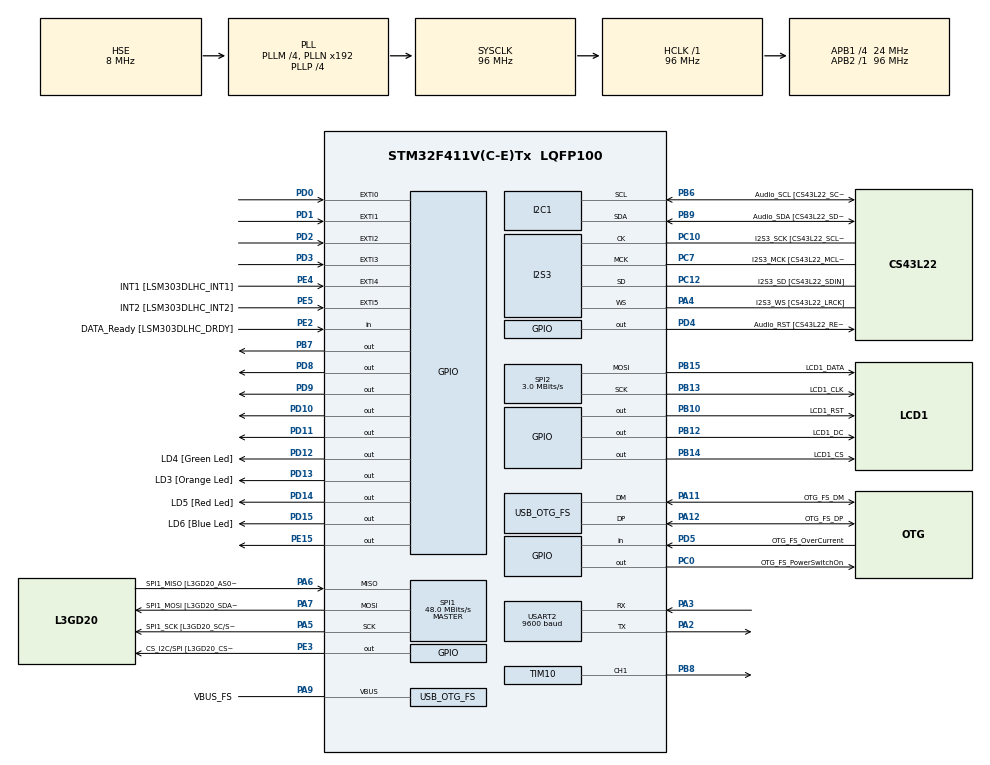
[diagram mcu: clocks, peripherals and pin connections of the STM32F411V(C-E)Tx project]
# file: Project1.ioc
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I2S3.AudioFreq=I2S_AUDIOFREQ_96K
I2S3.ErrorAudioFreq=-6.99 %
I2S3.FullDuplexMode=I2S_FULLDUPLEXMODE_DISABLE
I2S3.Instance=SPI$Index
I2S3.RealAudioFreq=89.285 KHz
I2S3.VirtualMode=I2S_MODE_MASTER
IWDG.Prescaler=IWDG_PRESCALER_128
IWDG.Reload=2047
Mcu.Family=STM32F4
Mcu.Name=STM32F411V(C-E)Tx
Mcu.Package=LQFP100
NVIC.EXTI0_IRQn=true\:0\:0\:false\:false\:true\:true
NVIC.EXTI1_IRQn=true\:0\:0\:false\:false\:true\:true
NVIC.EXTI2_IRQn=true\:0\:0\:false\:false\:true\:true
NVIC.EXTI3_IRQn=true\:0\:0\:false\:false\:true\:true
NVIC.OTG_FS_IRQn=true\:0\:0\:false\:false\:true\:true
NVIC.PriorityGroup=NVIC_PRIORITYGROUP_0
NVIC.TIM1_UP_TIM10_IRQn=true\:0\:0\:false\:false\:true\:true
PA10.GPIO_Label=OTG_FS_ID
PA10.Signal=USB_OTG_FS_ID
PA11.GPIO_Label=OTG_FS_DM
PA11.Mode=Host_Only
PA11.Signal=USB_OTG_FS_DM
PA12.GPIO_Label=OTG_FS_DP
PA12.Mode=Host_Only
PA12.Signal=USB_OTG_FS_DP
PA13.GPIO_Label=SWDIO
PA13.Mode=Serial_Wire
PA13.Signal=SYS_JTMS-SWDIO
PA14.GPIO_Label=SWCLK
PA14.Mode=Serial_Wire
PA14.Signal=SYS_JTCK-SWCLK
PA2.Mode=Asynchronous
PA2.Signal=USART2_TX
PA3.Mode=Asynchronous
PA3.Signal=USART2_RX
PA4.GPIO_Label=I2S3_WS [CS43L22_LRCK]
PA4.GPIO_Mode=GPIO_MODE_AF_PP
PA4.GPIO_PuPd=GPIO_NOPULL
PA4.GPIO_Speed=GPIO_SPEED_FREQ_LOW
PA4.Mode=Half_Duplex_Master
PA4.Signal=I2S3_WS
PA5.GPIO_Label=SPI1_SCK [L3GD20_SC/SPC]
PA5.Mode=Full_Duplex_Master
PA5.Signal=SPI1_SCK
PA6.GPIO_Label=SPI1_MISO [L3GD20_AS0/SDO]
PA6.Mode=Full_Duplex_Master
PA6.Signal=SPI1_MISO
PA7.GPIO_Label=SPI1_MOSI [L3GD20_SDA/SDI/SDO]
PA7.Mode=Full_Duplex_Master
PA7.Signal=SPI1_MOSI
PA9.GPIO_Label=VBUS_FS
PA9.Mode=Activate_VBUS
PA9.Signal=USB_OTG_FS_VBUS
PB10.GPIO_Label=LCD1_RST
PB10.Signal=GPIO_Output
PB12.GPIO_Label=LCD1_DC
PB12.Signal=GPIO_Output
PB13.GPIO_Label=LCD1_CLK
PB13.Mode=TX_Only_Simplex_Unidirect_Master
PB13.Signal=SPI2_SCK
PB14.GPIO_Label=LCD1_CS
PB14.Signal=GPIO_Output
PB15.GPIO_Label=LCD1_DATA
PB15.Mode=TX_Only_Simplex_Unidirect_Master
PB15.Signal=SPI2_MOSI
PB3.GPIO_Label=SWO
PB3.Signal=SYS_JTDO-SWO
PB6.GPIO_Label=Audio_SCL [CS43L22_SCL]
PB6.GPIO_Mode=GPIO_MODE_AF_OD
PB6.GPIO_PuPd=GPIO_NOPULL
PB6.GPIO_Speed=GPIO_SPEED_FREQ_LOW
PB6.Mode=I2C
PB6.Signal=I2C1_SCL
PB7.Signal=GPIO_Output
PB8.GPIO_Speed=GPIO_SPEED_FREQ_HIGH
PB8.Signal=S_TIM10_CH1
PB9.GPIO_Label=Audio_SDA [CS43L22_SDA]
PB9.GPIO_Mode=GPIO_MODE_AF_OD
PB9.GPIO_PuPd=GPIO_NOPULL
PB9.GPIO_Speed=GPIO_SPEED_FREQ_LOW
PB9.Mode=I2C
PB9.Signal=I2C1_SDA
PC0.GPIO_Label=OTG_FS_PowerSwitchOn
PC0.PinState=GPIO_PIN_SET
PC0.Signal=GPIO_Output
PC10.GPIO_Label=I2S3_SCK [CS43L22_SCLK]
PC10.GPIO_Mode=GPIO_MODE_AF_PP
PC10.GPIO_PuPd=GPIO_NOPULL
PC10.GPIO_Speed=GPIO_SPEED_FREQ_LOW
PC10.Mode=Half_Duplex_Master
PC10.Signal=I2S3_CK
PC12.GPIO_Label=I2S3_SD [CS43L22_SDIN]
PC12.GPIO_Mode=GPIO_MODE_AF_PP
PC12.GPIO_PuPd=GPIO_NOPULL
PC12.GPIO_Speed=GPIO_SPEED_FREQ_LOW
PC12.Mode=Half_Duplex_Master
PC12.Signal=I2S3_SD
PC14-OSC32_IN.GPIO_Label=PC14-OSC32_IN
PC14-OSC32_IN.Mode=LSE-External-Oscillator
PC14-OSC32_IN.Signal=RCC_OSC32_IN
PC15-OSC32_OUT.GPIO_Label=PC15-OSC32_OUT
PC15-OSC32_OUT.Mode=LSE-External-Oscillator
PC15-OSC32_OUT.Signal=RCC_OSC32_OUT
PC3.GPIO_Label=PDM_OUT [MP45DT02_DOUT]
PC3.Signal=I2S2_SD
PC7.GPIO_Label=I2S3_MCK [CS43L22_MCLK]
PC7.GPIO_Mode=GPIO_MODE_AF_PP
PC7.GPIO_PuPd=GPIO_NOPULL
PC7.GPIO_Speed=GPIO_SPEED_FREQ_LOW
PC7.Mode=Master_Clock_Activated
PC7.Signal=I2S3_MCK
PD0.GPIO_ModeDefaultEXTI=GPIO_MODE_IT_RISING_FALLING
PD0.GPIO_PuPd=GPIO_PULLDOWN
PD0.Signal=GPXTI0
PD1.GPIO_ModeDefaultEXTI=GPIO_MODE_IT_RISING_FALLING
PD1.GPIO_PuPd=GPIO_PULLDOWN
PD1.Signal=GPXTI1
PD10.Signal=GPIO_Output
PD11.Signal=GPIO_Output
PD12.GPIO_Label=LD4 [Green Led]
PD12.GPIO_PuPd=GPIO_NOPULL
PD12.GPIO_Speed=GPIO_SPEED_FREQ_LOW
PD12.Signal=GPIO_Output
PD13.GPIO_Label=LD3 [Orange Led]
PD13.GPIO_PuPd=GPIO_NOPULL
PD13.GPIO_Speed=GPIO_SPEED_FREQ_LOW
PD13.Signal=GPIO_Output
PD14.GPIO_Label=LD5 [Red Led]
PD14.GPIO_PuPd=GPIO_NOPULL
PD14.GPIO_Speed=GPIO_SPEED_FREQ_LOW
PD14.Signal=GPIO_Output
PD15.GPIO_Label=LD6 [Blue Led]
PD15.GPIO_PuPd=GPIO_NOPULL
PD15.GPIO_Speed=GPIO_SPEED_FREQ_LOW
PD15.Signal=GPIO_Output
PD2.GPIO_ModeDefaultEXTI=GPIO_MODE_IT_RISING_FALLING
PD2.GPIO_PuPd=GPIO_PULLDOWN
PD2.Signal=GPXTI2
PD3.GPIO_ModeDefaultEXTI=GPIO_MODE_IT_RISING_FALLING
PD3.GPIO_PuPd=GPIO_PULLDOWN
PD3.Signal=GPXTI3
PD4.GPIO_Label=Audio_RST [CS43L22_RESET]
PD4.Signal=GPIO_Output
PD5.GPIO_Label=OTG_FS_OverCurrent
PD5.Signal=GPIO_Input
PD8.Signal=GPIO_Output
PD9.Signal=GPIO_Output
PE15.Signal=GPIO_Output
PE2.GPIO_Label=DATA_Ready [LSM303DLHC_DRDY]
PE2.Signal=GPIO_Input
PE3.GPIO_Label=CS_I2C/SPI [L3GD20_CS_I2C/SPI]
PE3.Signal=GPIO_Output
PE4.GPIO_Label=INT1 [LSM303DLHC_INT1]
PE4.GPIO_ModeDefaultEXTI=GPIO_MODE_EVT_RISING
PE4.Signal=GPXTI4
PE5.GPIO_Label=INT2 [LSM303DLHC_INT2]
PE5.GPIO_ModeDefaultEXTI=GPIO_MODE_EVT_RISING
PE5.Signal=GPXTI5
PH0\ -\ OSC_IN.GPIO_Label=PH0-OSC_IN
PH0\ -\ OSC_IN.Mode=HSE-External-Clock-Source
PH0\ -\ OSC_IN.Signal=RCC_OSC_IN
PH1\ -\ OSC_OUT.GPIO_Label=PH1-OSC_OUT
PH1\ -\ OSC_OUT.Mode=HSE-External-Clock-Source
PH1\ -\ OSC_OUT.Signal=RCC_OSC_OUT
ProjectManager.HeapSize=0x200
ProjectManager.StackSize=0x400
ProjectManager.TargetToolchain=SW4STM32
RCC.48MHZClocksFreq_Value=48000000
RCC.AHBFreq_Value=96000000
RCC.APB1CLKDivider=RCC_HCLK_DIV4
RCC.APB1Freq_Value=24000000
RCC.APB1TimFreq_Value=48000000
RCC.APB2Freq_Value=96000000
RCC.APB2TimFreq_Value=96000000
RCC.CortexFreq_Value=96000000
RCC.HCLKFreq_Value=96000000
RCC.HSE_VALUE=8000000
RCC.HSI_VALUE=16000000
RCC.PLLI2SM=5
RCC.PLLI2SN=200
RCC.PLLM=4
RCC.PLLP=RCC_PLLP_DIV4
RCC.PLLQ=8
RCC.SYSCLKFreq_VALUE=96000000
RCC.SYSCLKSource=RCC_SYSCLKSOURCE_PLLCLK
RCC.VCOOutputFreq_Value=384000000
SH.S_TIM10_CH1.0=TIM10_CH1,PWM Generation1 CH1
SPI1.BaudRatePrescaler=SPI_BAUDRATEPRESCALER_2
SPI1.CalculateBaudRate=48.0 MBits/s
SPI1.Direction=SPI_DIRECTION_2LINES
SPI1.Mode=SPI_MODE_MASTER
SPI1.VirtualType=VM_MASTER
SPI2.BaudRatePrescaler=SPI_BAUDRATEPRESCALER_8
SPI2.CalculateBaudRate=3.0 MBits/s
SPI2.Direction=SPI_DIRECTION_2LINES
SPI2.Mode=SPI_MODE_MASTER
SPI2.VirtualType=VM_MASTER
TIM10.Channel=TIM_CHANNEL_1
TIM10.OCFastMode_PWM=TIM_OCFAST_ENABLE
TIM10.OCMode_PWM=TIM_OCMODE_PWM2
TIM10.Period=2500
TIM10.Prescaler=63
TIM10.Pulse=1000
USART2.BaudRate=9600
USART2.VirtualMode=VM_ASYNC
USB_HOST.BSP.number=1
USB_HOST.USBH_HandleTypeDef=hUsbHostFS
USB_HOST.VirtualModeFS=Cdc
USB_HOST0.BSP.STBoard=false
USB_HOST0.BSP.api=Unknown
USB_HOST0.BSP.i2caddr=0
USB_HOST0.BSP.i2creg=0
USB_HOST0.BSP.instance=PC0
USB_HOST0.BSP.ip=GPIO
USB_HOST0.BSP.mode=Output
USB_HOST0.BSP.name=Drive_VBUS_FS
USB_HOST0.BSP.solution=PC0
USB_OTG_FS.VirtualMode=Host_Only
USB_OTG_FS.phy_itface=HCD_PHY_EMBEDDED
VP_IWDG_VS_IWDG.Mode=IWDG_Activate
VP_TIM10_VS_ClockSourceINT.Mode=Enable_Timer
VP_USB_HOST_VS_USB_HOST_CDC_FS.Mode=CDC_FS
board=32F411EDISCOVERY

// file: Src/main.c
/* USER CODE BEGIN Header */
/**
  ******************************************************************************
  * @file           : main.c
  * @brief          : Main program body
  ******************************************************************************
  * This notice applies to any and all portions of this file
  * that are not between comment pairs USER CODE BEGIN and
  * USER CODE END. Other portions of this file, whether
  * inserted by the user or by software development tools
  * are owned by their respective copyright owners.
  *
  * Copyright (c) 2018 STMicroelectronics International N.V.
  * All rights reserved.
  *
  * Redistribution and use in source and binary forms, with or without
  * modification, are permitted, provided that the following conditions are met:
  *
  * 1. Redistribution of source code must retain the above copyright notice,
  *    this list of conditions and the following disclaimer.
  * 2. Redistributions in binary form must reproduce the above copyright notice,
  *    this list of conditions and the following disclaimer in the documentation
  *    and/or other materials provided with the distribution.
  * 3. Neither the name of STMicroelectronics nor the names of other
  *    contributors to this software may be used to endorse or promote products
  *    derived from this software without specific written permission.
  * 4. This software, including modifications and/or derivative works of this
  *    software, must execute solely and exclusively on microcontroller or
  *    microprocessor devices manufactured by or for STMicroelectronics.
  * 5. Redistribution and use of this software other than as permitted under
  *    this license is void and will automatically terminate your rights under
  *    this license.
  *
  * THIS SOFTWARE IS PROVIDED BY STMICROELECTRONICS AND CONTRIBUTORS "AS IS"
  * AND ANY EXPRESS, IMPLIED OR STATUTORY WARRANTIES, INCLUDING, BUT NOT
  * LIMITED TO, THE IMPLIED WARRANTIES OF MERCHANTABILITY, FITNESS FOR A
  * PARTICULAR PURPOSE AND NON-INFRINGEMENT OF THIRD PARTY INTELLECTUAL PROPERTY
  * RIGHTS ARE DISCLAIMED TO THE FULLEST EXTENT PERMITTED BY LAW. IN NO EVENT
  * SHALL STMICROELECTRONICS OR CONTRIBUTORS BE LIABLE FOR ANY DIRECT, INDIRECT,
  * INCIDENTAL, SPECIAL, EXEMPLARY, OR CONSEQUENTIAL DAMAGES (INCLUDING, BUT NOT
  * LIMITED TO, PROCUREMENT OF SUBSTITUTE GOODS OR SERVICES; LOSS OF USE, DATA,
  * OR PROFITS; OR BUSINESS INTERRUPTION) HOWEVER CAUSED AND ON ANY THEORY OF
  * LIABILITY, WHETHER IN CONTRACT, STRICT LIABILITY, OR TORT (INCLUDING
  * NEGLIGENCE OR OTHERWISE) ARISING IN ANY WAY OUT OF THE USE OF THIS SOFTWARE,
  * EVEN IF ADVISED OF THE POSSIBILITY OF SUCH DAMAGE.
  *
  ******************************************************************************
  */
/* USER CODE END Header */

#include "main.h"
#include "i2c.h"
#include "i2s.h"
#include "iwdg.h"
#include "spi.h"
#include "tim.h"
#include "usart.h"
#include "usb_host.h"
#include "gpio.h"

void SystemClock_Config(void);
void MX_USB_HOST_Process(void);

/* USER CODE BEGIN PFP */

void HAL_GPIO_EXTI_Callback(uint16_t GPIO_Pin) {
	interface_on_input(GPIO_Pin);
}

void HAL_TIM_PeriodElapsedCallback(TIM_HandleTypeDef *htim)
{
	if(htim->Instance == TIM10)
	{
		dispenser_timer_callback();
	}
}

/* USER CODE END PFP */

/* USER CODE BEGIN 0 */

// WIFI MODULE FUNCTIONS
char* request = NULL;
char first_request = 1;
char opened_dispenser = 0;

char* wifi_create_request() {
	free(request);
	request = malloc(1000);
	if (request == NULL)
		return NULL;

	char text[] = "{\"current_temperature\":%d.%02d,"
			"\"required_temperature\":%d,"
			"\"heater\":%d,"
			"\"dispenser\":%d,"
			"\"first\":%d}";
	float temperature = get_current_temperature();
	sprintf(request, text,
			(int) temperature, (int) (temperature * 100) - ((int) temperature) * 100,
			get_required_temperature(),
			heater_is_on(),
			opened_dispenser,
			first_request);

	first_request = 0;
	return request;
}

const char* WHITESPACE = " \n\t\r\v";
const char NUMBER_SPLIT = '.';
double parse_number(char* string) {
	float result = 0;
	int split_i = -1;

	for (int i = 0; string[i] != '\0'; ++i) {
		double number = (double) (string[i] - '0');

		if (number >= 0 && number <= 9) {
			if (split_i == -1)
				result = result * 10 + number;
			else {
				int fraction = i - split_i;
				for (int j = 0; j < fraction; ++j) number /= 10;
				result += number;
			}
		}
		else if (string[i] == NUMBER_SPLIT) {
			if (split_i != -1) break;
			split_i = i;
		}
		else {
			break;
		}
	}

	return result;
}

int is_whitespace(char c) {
	for (int i = 0; WHITESPACE[i] != '\0'; ++i) {
		if (WHITESPACE[i] == c) return 1;
	}
	return 0;
}

int skip_word(char* string) {
	int i = 0;
	for (; string[i] != '\0' && !is_whitespace(string[i]); ++i);
	for (; string[i] != '\0' && is_whitespace(string[i]); ++i);
	return i;
}

void read_response(char* response) {
	if (response[0]) {
		HAL_Delay(1000);
	}

	double required_temperature = parse_number(&response[0]);
	set_required_temperature(required_temperature);

	int word_start = skip_word(&response[0]);
	double open_dispenser = parse_number(&response[word_start]);
	if (open_dispenser) {
		dispenser_feed();
		opened_dispenser = 1;
	} else {
		opened_dispenser = 0;
	}
}

char* wifi_uuid = "UCU-Guests";
char* wifi_password = "";

char* url = "http://kangaroosinantarctica.pythonanywhere.com/aquarium/data";
char* response;

void wifi_module_process(WifiController* wifi_controller) {
	int is_connected = wifi_is_connected(wifi_controller);

	if (!is_connected) {
		HAL_Delay(2000);
		is_connected = wifi_is_connected(wifi_controller);
		HAL_Delay(1000);

		if (!is_connected) {
			wifi_connect(wifi_controller, wifi_uuid, wifi_password);
			HAL_Delay(5000);
		}
	}
	else {
		response = wifi_get_response(wifi_controller);
		read_response(response);

		request = wifi_create_request();
		if (request == NULL) return;
		HAL_Delay(1000);

		int result = wifi_configure_request(wifi_controller, WIFI_REQUEST_TYPE_POST, url);
		HAL_Delay(250);
		result = wifi_send_request(wifi_controller, request);

		HAL_Delay(3000);
	}
}

int cstr_size(char* str) {
	int size = 0;
	while (str[size++] != '\0') {};
	return size;
}

void init_all() {
	// Interface
	interface_init();
	interface_display();

	// Dispenser
	dispenser_init();
	// Enable interrupt for timer 10
	HAL_TIM_Base_Start_IT(&htim10);

	temperature_init();
}

/* USER CODE END 0 */

int main(void)
{

  /* MCU Configuration--------------------------------------------------------*/

  /* Reset of all peripherals, Initializes the Flash interface and the Systick. */
  HAL_Init();

  /* Configure the system clock */
  SystemClock_Config();

  /* Initialize all configured peripherals */
  MX_GPIO_Init();
  MX_I2C1_Init();
  MX_I2S3_Init();
  MX_SPI1_Init();
  MX_USB_HOST_Init();
  MX_SPI2_Init();
  MX_TIM10_Init();
  MX_USART2_UART_Init();
  MX_IWDG_Init();

  /* Infinite loop */
  /* USER CODE BEGIN WHILE */

  init_all();

  WifiController wifi_controller;
  wifi_init(&wifi_controller, &huart2);

  while (1)
  {
	// Perform the basic loop of the program
	IWDG->KR = 0x0000AAAAU;

	temperature_measure();
	interface_display();
	heater_adapt();

	wifi_module_process(&wifi_controller);

    /* USER CODE END WHILE */
    MX_USB_HOST_Process();

  }
}

void SystemClock_Config(void)
{
  RCC_OscInitTypeDef RCC_OscInitStruct = {0};
  RCC_ClkInitTypeDef RCC_ClkInitStruct = {0};
  RCC_PeriphCLKInitTypeDef PeriphClkInitStruct = {0};

  /**Configure the main internal regulator output voltage
  */
  __HAL_RCC_PWR_CLK_ENABLE();
  __HAL_PWR_VOLTAGESCALING_CONFIG(PWR_REGULATOR_VOLTAGE_SCALE1);
  /**Initializes the CPU, AHB and APB busses clocks
  */
  RCC_OscInitStruct.OscillatorType = RCC_OSCILLATORTYPE_LSI|RCC_OSCILLATORTYPE_HSE;
  RCC_OscInitStruct.HSEState = RCC_HSE_BYPASS;
  RCC_OscInitStruct.LSIState = RCC_LSI_ON;
  RCC_OscInitStruct.PLL.PLLState = RCC_PLL_ON;
  RCC_OscInitStruct.PLL.PLLSource = RCC_PLLSOURCE_HSE;
  RCC_OscInitStruct.PLL.PLLM = 4;
  RCC_OscInitStruct.PLL.PLLN = 192;
  RCC_OscInitStruct.PLL.PLLP = RCC_PLLP_DIV4;
  RCC_OscInitStruct.PLL.PLLQ = 8;
  if (HAL_RCC_OscConfig(&RCC_OscInitStruct) != HAL_OK)
  {
    Error_Handler();
  }
  /**Initializes the CPU, AHB and APB busses clocks
  */
  RCC_ClkInitStruct.ClockType = RCC_CLOCKTYPE_HCLK|RCC_CLOCKTYPE_SYSCLK
                              |RCC_CLOCKTYPE_PCLK1|RCC_CLOCKTYPE_PCLK2;
  RCC_ClkInitStruct.SYSCLKSource = RCC_SYSCLKSOURCE_PLLCLK;
  RCC_ClkInitStruct.AHBCLKDivider = RCC_SYSCLK_DIV1;
  RCC_ClkInitStruct.APB1CLKDivider = RCC_HCLK_DIV4;
  RCC_ClkInitStruct.APB2CLKDivider = RCC_HCLK_DIV1;

  if (HAL_RCC_ClockConfig(&RCC_ClkInitStruct, FLASH_LATENCY_3) != HAL_OK)
  {
    Error_Handler();
  }
  PeriphClkInitStruct.PeriphClockSelection = RCC_PERIPHCLK_I2S;
  PeriphClkInitStruct.PLLI2S.PLLI2SN = 200;
  PeriphClkInitStruct.PLLI2S.PLLI2SM = 5;
  PeriphClkInitStruct.PLLI2S.PLLI2SR = 2;
  if (HAL_RCCEx_PeriphCLKConfig(&PeriphClkInitStruct) != HAL_OK)
  {
    Error_Handler();
  }
}

void Error_Handler(void)
{
}

/************************ (C) COPYRIGHT STMicroelectronics *****END OF FILE****/
